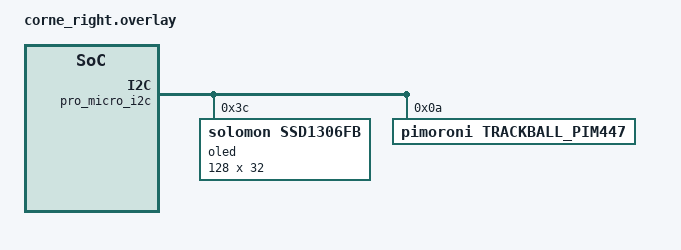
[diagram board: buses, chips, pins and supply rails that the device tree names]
/*
 * Copyright (c) 2020 Pete Johanson
 *
 * SPDX-License-Identifier: MIT
 */

#include "corne.dtsi"
#include <dt-bindings/zmk/matrix_transform.h>
#include <dt-bindings/zmk/trackball_pim447.h>

&default_transform {
    col-offset = <6>;
};

&five_column_transform {
    col-offset = <6>;
};

&kscan0 {
    col-gpios
        = <&pro_micro 14 GPIO_ACTIVE_HIGH>
        , <&pro_micro 15 GPIO_ACTIVE_HIGH>
        , <&pro_micro 18 GPIO_ACTIVE_HIGH>
        , <&pro_micro 19 GPIO_ACTIVE_HIGH>
        , <&pro_micro 20 GPIO_ACTIVE_HIGH>
        , <&pro_micro 21 GPIO_ACTIVE_HIGH>
        ;
};

&pro_micro_i2c {
    status = "okay";
    
    oled: ssd1306@3c {
            compatible = "solomon,ssd1306fb";
            reg = <0x3c>;
            width = <128>;
            height = <32>;
            segment-offset = <0>;
            page-offset = <0>;
            display-offset = <0>;
            multiplex-ratio = <31>;
            segment-remap;
            com-invdir;
            com-sequential;
            inversion-on;
            prechargep = <0x22>;
	  };
        
    trackball_pim447@a {
	    compatible = "pimoroni,trackball_pim447";
	    reg = <0xa>;
	    label = "TRACKBALL_PIM447";
            move-factor = <2>;  // 포인터 속도 증가 (기본값: 1)
            invert-move-x;  // X 축 반전
            invert-move-y;  // Y 축 반전
            button = <1>;  // 볼을 눌렀을 때 오른쪽 클릭 전송
            swap-axes;  // X 및 Y 축 교환
            scroll-divisor = <1>;  // 휠 속도 증가 (기본값: 2)
            invert-scroll-x;  // 휠 X 축 반전
            invert-scroll-y;  // 휠 Y 축 반전
            mode = <PIM447_SCROLL>; // 시작 시 마우스 휠로 작동
      };
};
